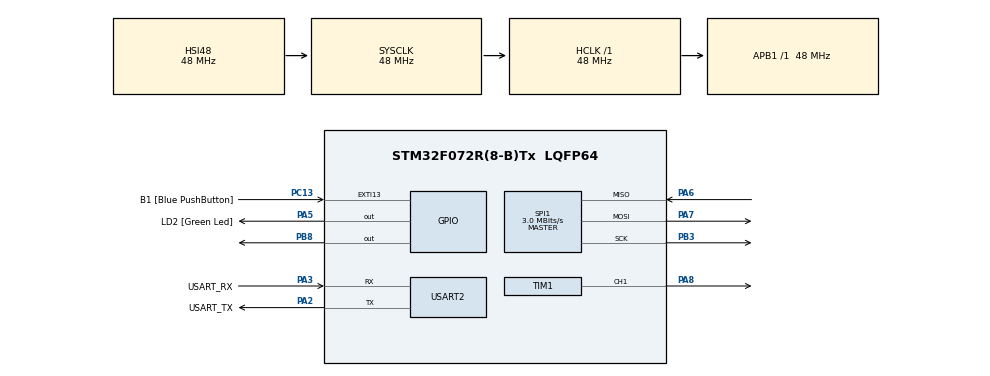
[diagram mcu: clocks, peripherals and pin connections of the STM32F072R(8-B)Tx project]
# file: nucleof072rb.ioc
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Mcu.Family=STM32F0
Mcu.Name=STM32F072R(8-B)Tx
Mcu.Package=LQFP64
PA13.GPIO_Label=TMS
PA13.Mode=Serial_Wire
PA13.Signal=SYS_SWDIO
PA14.GPIO_Label=TCK
PA14.Mode=Serial_Wire
PA14.Signal=SYS_SWCLK
PA2.GPIO_Label=USART_TX
PA2.GPIO_Mode=GPIO_MODE_AF_PP
PA2.GPIO_PuPd=GPIO_NOPULL
PA2.GPIO_Speed=GPIO_SPEED_FREQ_LOW
PA2.Mode=Asynchronous
PA2.Signal=USART2_TX
PA3.GPIO_Label=USART_RX
PA3.GPIO_Mode=GPIO_MODE_AF_PP
PA3.GPIO_PuPd=GPIO_NOPULL
PA3.GPIO_Speed=GPIO_SPEED_FREQ_LOW
PA3.Mode=Asynchronous
PA3.Signal=USART2_RX
PA5.GPIO_Label=LD2 [Green Led]
PA5.GPIO_Mode=GPIO_MODE_OUTPUT_PP
PA5.GPIO_PuPd=GPIO_NOPULL
PA5.GPIO_Speed=GPIO_SPEED_FREQ_LOW
PA5.Signal=GPIO_Output
PA6.Mode=Full_Duplex_Master
PA6.Signal=SPI1_MISO
PA7.Mode=Full_Duplex_Master
PA7.Signal=SPI1_MOSI
PA8.Signal=S_TIM1_CH1
PB3.Mode=Full_Duplex_Master
PB3.Signal=SPI1_SCK
PB8.Signal=GPIO_Output
PC13.GPIO_Label=B1 [Blue PushButton]
PC13.GPIO_ModeDefaultEXTI=GPIO_MODE_IT_FALLING
PC13.Signal=GPXTI13
PC14-OSC32_IN.Mode=LSE-External-Oscillator
PC14-OSC32_IN.Signal=RCC_OSC32_IN
PC15-OSC32_OUT.Mode=LSE-External-Oscillator
PC15-OSC32_OUT.Signal=RCC_OSC32_OUT
PF0-OSC_IN.Mode=HSE-External-Clock-Source
PF0-OSC_IN.Signal=RCC_OSC_IN
PF1-OSC_OUT.Signal=RCC_OSC_OUT
ProjectManager.HeapSize=0x200
ProjectManager.StackSize=0x400
ProjectManager.TargetToolchain=STM32CubeIDE
RCC.AHBFreq_Value=48000000
RCC.APB1Freq_Value=48000000
RCC.APB1TimFreq_Value=48000000
RCC.FLatency-AdvancedSettings=FLASH_LATENCY_1
RCC.HCLKFreq_Value=48000000
RCC.PLLDivider=RCC_PREDIV_DIV2
RCC.PLLMUL=RCC_PLL_MUL12
RCC.PREFETCH_ENABLE-AdvancedSettings=1
RCC.SYSCLKFreq_VALUE=48000000
RCC.SYSCLKSource=RCC_SYSCLKSOURCE_HSI48
SH.S_TIM1_CH1.0=TIM1_CH1,PWM Generation1 CH1
SPI1.BaudRatePrescaler=SPI_BAUDRATEPRESCALER_16
SPI1.CalculateBaudRate=3.0 MBits/s
SPI1.DataSize=SPI_DATASIZE_10BIT
SPI1.Direction=SPI_DIRECTION_2LINES
SPI1.FirstBit=SPI_FIRSTBIT_MSB
SPI1.Mode=SPI_MODE_MASTER
SPI1.VirtualType=VM_MASTER
TIM1.Channel-PWM\ Generation1\ CH1=TIM_CHANNEL_1
TIM1.CounterMode=TIM_COUNTERMODE_UP
TIM1.Period=64000
TIM1.Prescaler=14
USART2.VirtualMode=VM_ASYNC
USART2.VirtualMode-Asynchronous=VM_ASYNC
VP_TIM1_VS_ClockSourceINT.Mode=Internal
board=NUCLEO-F072RB

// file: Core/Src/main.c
/* USER CODE BEGIN Header */
/**
  ******************************************************************************
  * @file           : main.c
  * @brief          : Main program body
  ******************************************************************************
  * @attention
  *
  * <h2><center>&copy; Copyright (c) 2021 STMicroelectronics.
  * All rights reserved.</center></h2>
  *
  * This software component is licensed by ST under BSD 3-Clause license,
  * the "License"; You may not use this file except in compliance with the
  * License. You may obtain a copy of the License at:
  *                        opensource.org/licenses/BSD-3-Clause
  *
  ******************************************************************************
  */
/* USER CODE END Header */
#include "main.h"
#include "spi.h"
#include "tim.h"
#include "usart.h"
#include "gpio.h"

void SystemClock_Config(void);
/* USER CODE BEGIN PFP */
extern SPI_HandleTypeDef hspi1;	 // For SPI communication
extern TIM_HandleTypeDef htim1;  // Using TIM1 for PWM output
/* USER CODE END PFP */

/* USER CODE BEGIN 0 */
#define TIMER_PERIOD 64000  // TIM1 counter period set on .ioc
#define MIN_DUTY_CYCLE 0.05  // 5%
#define MAX_DUTY_CYCLE 0.10  // 10%

void set_CS_high(){
	HAL_GPIO_WritePin(GPIOB, GPIO_PIN_8, GPIO_PIN_SET);
}

void set_CS_low(){
	HAL_GPIO_WritePin(GPIOB, GPIO_PIN_8, GPIO_PIN_RESET);
}

uint16_t Read_ADC_Value() {
    uint8_t txData[3] = {0x01, 0x80, 0x00};  // Command: Start(1), Single(10), CH0(00), and 0s
    uint8_t rxData[3] = {0};  // for received data (10 bit)

    set_CS_low();  // start communication
    HAL_SPI_TransmitReceive(&hspi1, txData, rxData, 3, HAL_MAX_DELAY);
    set_CS_high(); // end communication

    // Convert received bytes into 10-bit ADC value
    uint16_t adc_value = ((rxData[1] & 0x03) << 8) | rxData[2]; // Thank you MTE 241

    return adc_value;
}

void Set_PWM_DutyCycle(uint16_t adc_value) {
    // ADC value has to be in the 10-bit range from 5% up to 10%
    if (adc_value > 1023) adc_value = 1023;

    // Get min and max counts
    uint16_t min_counts = (uint16_t)(TIMER_PERIOD * MIN_DUTY_CYCLE);  // 5% of timer period = 3200
    uint16_t max_counts = (uint16_t)(TIMER_PERIOD * MAX_DUTY_CYCLE);  // 10% of timer period = 6400

    // Convert ADC value to counts
    uint16_t pwm_counts = (uint16_t)(((adc_value / 1023.0) * (max_counts - min_counts)) + min_counts);

    // Set the compare register for TIM1, Channel 1
    __HAL_TIM_SET_COMPARE(&htim1, TIM_CHANNEL_1, pwm_counts);
}

/* USER CODE END 0 */

int main(void)
{

  /* MCU Configuration--------------------------------------------------------*/

  /* Reset of all peripherals, Initializes the Flash interface and the Systick. */
  HAL_Init();

  /* Configure the system clock */
  SystemClock_Config();

  /* Initialize all configured peripherals */
  MX_GPIO_Init();
  MX_USART2_UART_Init();
  MX_SPI1_Init();
  MX_TIM1_Init();
  /* USER CODE BEGIN 2 */
  set_CS_high(); // Makes sure communication begin correctly

  HAL_TIM_PWM_Start(&htim1, TIM_CHANNEL_1);  // Starts PWM
  __HAL_TIM_SET_COMPARE(&htim1, TIM_CHANNEL_1, TIMER_PERIOD * MIN_DUTY_CYCLE);  // Set PWM to initial value

  HAL_Delay(10);
  /* USER CODE END 2 */

  /* Infinite loop */
  /* USER CODE BEGIN WHILE */
  while (1)
  {
	  uint16_t adc_value = Read_ADC_Value();  // Read ADC value
	  Set_PWM_DutyCycle(adc_value);  // Update PWM output

	  HAL_Delay(10);  // Delay
    /* USER CODE END WHILE */
  }
}

void SystemClock_Config(void)
{
  RCC_OscInitTypeDef RCC_OscInitStruct = {0};
  RCC_ClkInitTypeDef RCC_ClkInitStruct = {0};
  RCC_PeriphCLKInitTypeDef PeriphClkInit = {0};

  /** Initializes the RCC Oscillators according to the specified parameters
  * in the RCC_OscInitTypeDef structure.
  */
  RCC_OscInitStruct.OscillatorType = RCC_OSCILLATORTYPE_HSI48;
  RCC_OscInitStruct.HSI48State = RCC_HSI48_ON;
  RCC_OscInitStruct.PLL.PLLState = RCC_PLL_NONE;
  if (HAL_RCC_OscConfig(&RCC_OscInitStruct) != HAL_OK)
  {
    Error_Handler();
  }
  /** Initializes the CPU, AHB and APB buses clocks
  */
  RCC_ClkInitStruct.ClockType = RCC_CLOCKTYPE_HCLK|RCC_CLOCKTYPE_SYSCLK
                              |RCC_CLOCKTYPE_PCLK1;
  RCC_ClkInitStruct.SYSCLKSource = RCC_SYSCLKSOURCE_HSI48;
  RCC_ClkInitStruct.AHBCLKDivider = RCC_SYSCLK_DIV1;
  RCC_ClkInitStruct.APB1CLKDivider = RCC_HCLK_DIV1;

  if (HAL_RCC_ClockConfig(&RCC_ClkInitStruct, FLASH_LATENCY_1) != HAL_OK)
  {
    Error_Handler();
  }
  PeriphClkInit.PeriphClockSelection = RCC_PERIPHCLK_USART2;
  PeriphClkInit.Usart2ClockSelection = RCC_USART2CLKSOURCE_PCLK1;
  if (HAL_RCCEx_PeriphCLKConfig(&PeriphClkInit) != HAL_OK)
  {
    Error_Handler();
  }
}

void Error_Handler(void)
{
  __disable_irq();
  while (1)
  {
  }
}

/************************ (C) COPYRIGHT STMicroelectronics *****END OF FILE****/
